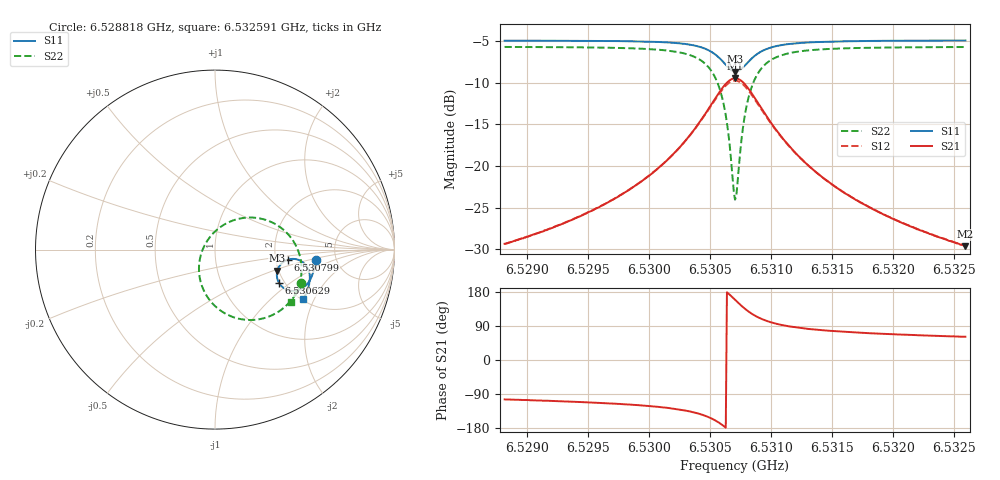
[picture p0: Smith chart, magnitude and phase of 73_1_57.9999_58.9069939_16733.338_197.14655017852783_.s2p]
#  HZ  S  RI  R  50.00
! Rohde & Schwarz Vector Network Analyzer
! Rohde-Schwarz,ZNB20-2Port,1311601062101988,3.16
! Created: UTC 3/21/2024, 12:53:28 AM
! freq[Hz]  re:S11  im:S11  re:S21  im:S21  re:S12  im:S12  re:S22  im:S22
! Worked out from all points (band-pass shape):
!   401 points, 6.528818 GHz to 6.532591 GHz, reference 50 ohm
!   highest |S21| = -9.50 dB at 6.530705 GHz (marker M1); lowest = -29.6 dB at 6.532591 GHz (marker M2)
!   |S21| within 3 dB of the highest: 6.530517 GHz to 6.530894 GHz (377.5 kHz wide, 0.00578 % of centre)
!   lowest |S11| = -8.7 dB at 6.530705 GHz (marker M3), VSWR 2.16, Z = 98.4 - j26.8 ohm
!   |S11| at or under -10 dB: nowhere
!   |S22| runs from -24.1 to -5.7 dB; largest |S21 - S12| = 0.014
!   S11 on the Smith chart (normalised r, x): 6.528818 GHz: 3.48, -0.58; 6.530629 GHz: 1.87, -0.84; 6.530799 GHz: 2.34, -0.32; 6.532591 GHz: 2.04, -1.66
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6.5288184e9  0.5607 -0.0572  -0.00822 -0.0331  -0.00879 -0.0328  0.4816 -0.1876
6.5294503e9  0.5513 -0.1114  -0.0182 -0.0471  -0.0193 -0.0467  0.4489 -0.2498
6.5297898e9  0.5408 -0.1447  -0.0305 -0.0611  -0.0323 -0.0603  0.4164 -0.2924
6.5300821e9  0.5237 -0.1787  -0.0544 -0.0811  -0.0568 -0.0796  0.3622 -0.3404
6.5303084e9  0.494 -0.2106  -0.1004 -0.1037  -0.1036 -0.1001  0.2696 -0.3831
6.5304688e9  0.4455 -0.2299  -0.1778 -0.11  -0.1804 -0.1022  0.1275 -0.3839
6.5305631e9  0.3953 -0.2213  -0.2562 -0.077  -0.2545 -0.0657  -0.00198 -0.3125
6.5306008e9  0.3727 -0.2059  -0.2897 -0.0432  -0.2849 -0.0315  -0.0517 -0.2487
6.5306291e9  0.3578 -0.1876  -0.3104 -0.00737  -0.3027 0.00378  -0.0787 -0.1844
6.5306574e9  0.3476 -0.164  -0.3223 0.037  -0.312 0.0463  -0.0895 -0.1088
6.5306857e9  0.3446 -0.1365  -0.3218 0.0863  -0.3093 0.0927  -0.0785 -0.0279
6.5307045e9  0.3474 -0.118  -0.3132 0.1192  -0.3003 0.1232  -0.0579 0.0241
6.5307234e9  0.3543 -0.1003  -0.2981 0.1497  -0.2853 0.1515  -0.0276 0.0711
6.5307611e9  0.3771 -0.0719  -0.2537 0.1975  -0.2429 0.1956  0.054 0.1412
6.5307988e9  0.406 -0.0561  -0.2009 0.2237  -0.193 0.2199  0.1458 0.1744
6.5308648e9  0.4531 -0.0538  -0.1186 0.2273  -0.1148 0.2236  0.2843 0.1649
6.5309591e9  0.4951 -0.0756  -0.0474 0.1946  -0.0456 0.1925  0.3999 0.0935
6.5311006e9  0.5205 -0.1125  -0.00383 0.1443  -0.00272 0.1436  0.4645 -0.00855
6.5313364e9  0.5284 -0.1568  0.0149 0.0948  0.0161 0.0944  0.4823 -0.1124
6.5316004e9  0.5249 -0.1911  0.0186 0.0663  0.0196 0.0661  0.4746 -0.1776
6.5319682e9  0.5145 -0.2274  0.0182 0.0459  0.019 0.0456  0.4566 -0.2334
6.5325906e9  0.4927 -0.2769  0.0158 0.0289  0.0165 0.0288  0.4242 -0.2939
